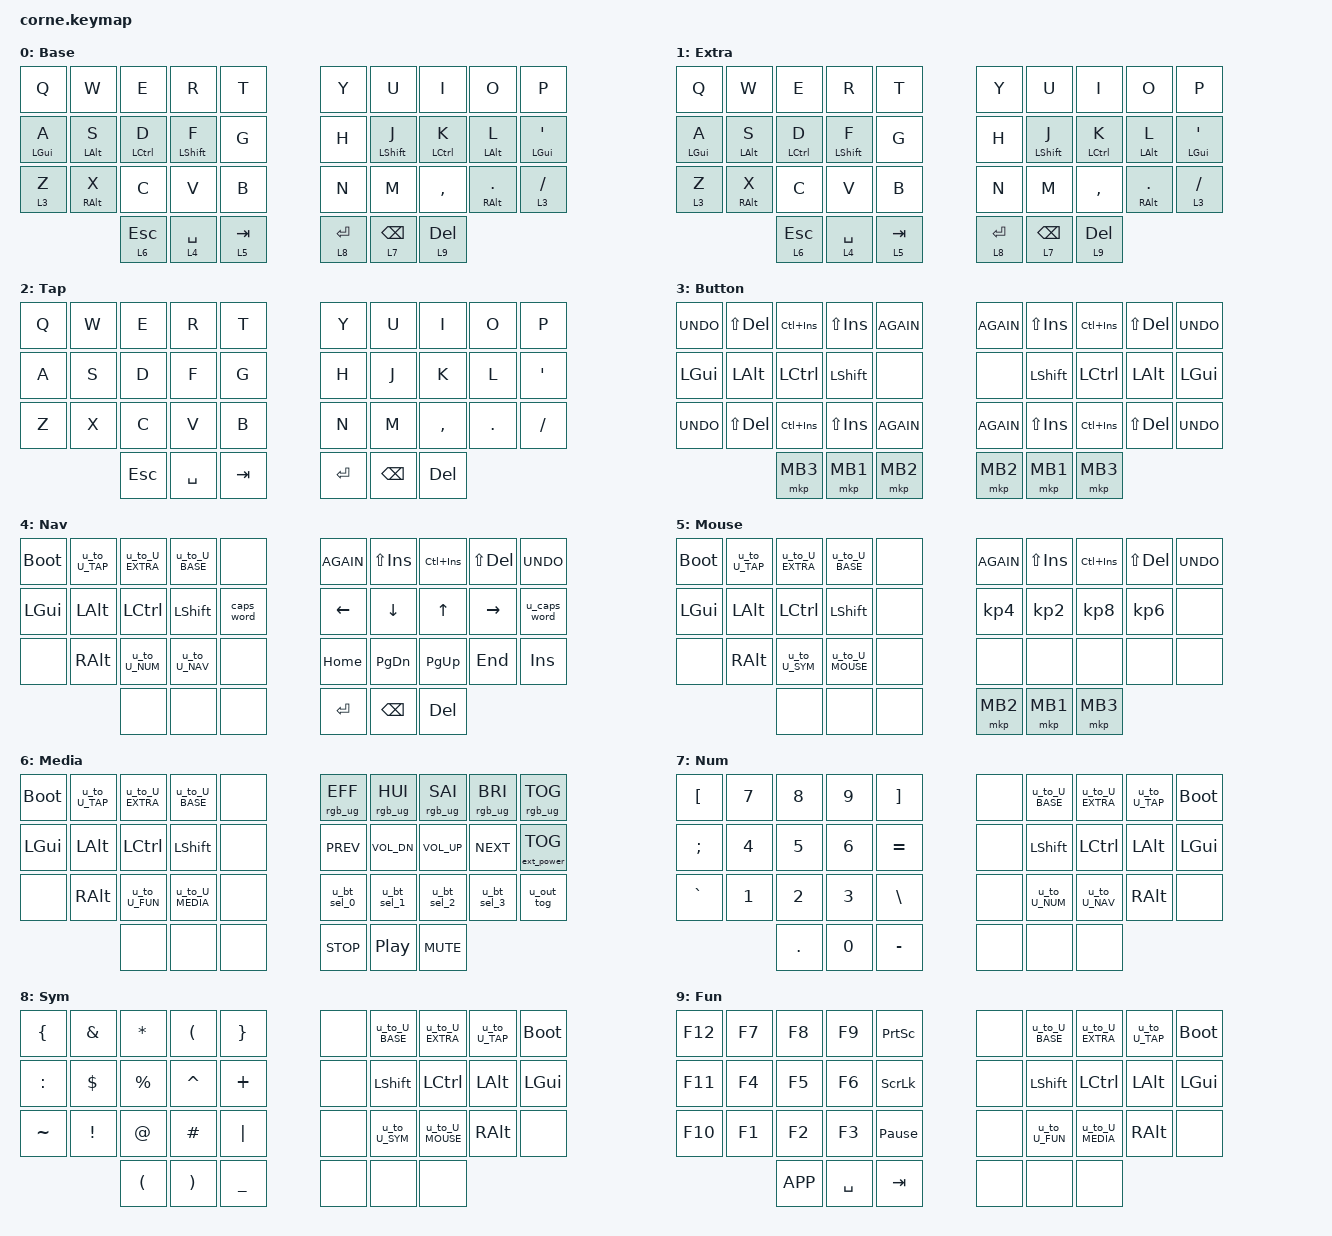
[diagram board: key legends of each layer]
#include <dt-bindings/zmk/mouse.h>
#include <behaviors.dtsi>
#include <dt-bindings/zmk/bt.h>
#include <dt-bindings/zmk/ext_power.h>
#include <dt-bindings/zmk/keys.h>
#include <dt-bindings/zmk/outputs.h>
#include <dt-bindings/zmk/rgb.h>

/ {
    chosen { zmk,matrix_transform = &five_column_transform; };
    keymap {
        compatible = "zmk,keymap";

        BASE {
            display-name = "Base";
            bindings = <
&kp Q         &kp W         &kp E          &kp R          &kp T          &kp Y        &kp U          &kp I          &kp O           &kp P           
&u_mt LGUI A  &u_mt LALT S  &u_mt LCTRL D  &u_mt LSHFT F  &kp G          &kp H        &u_mt LSHFT J  &u_mt LCTRL K  &u_mt LALT L    &u_mt LGUI SQT  
&u_lt 3 Z     &u_mt RALT X  &kp C          &kp V          &kp B          &kp N        &kp M          &kp COMMA      &u_mt RALT DOT  &u_lt 3 SLASH   
                                   &u_lt 6 ESC    &u_lt 4 SPACE  &u_lt 5 TAB    &u_lt 8 RET  &u_lt 7 BSPC   &u_lt 9 DEL
            >;
        };

        EXTRA {
            display-name = "Extra";
            bindings = <
&kp Q         &kp W         &kp E          &kp R          &kp T          &kp Y        &kp U          &kp I          &kp O           &kp P           
&u_mt LGUI A  &u_mt LALT S  &u_mt LCTRL D  &u_mt LSHFT F  &kp G          &kp H        &u_mt LSHFT J  &u_mt LCTRL K  &u_mt LALT L    &u_mt LGUI SQT  
&u_lt 3 Z     &u_mt RALT X  &kp C          &kp V          &kp B          &kp N        &kp M          &kp COMMA      &u_mt RALT DOT  &u_lt 3 SLASH   
                                   &u_lt 6 ESC    &u_lt 4 SPACE  &u_lt 5 TAB    &u_lt 8 RET  &u_lt 7 BSPC   &u_lt 9 DEL
            >;
        };

        TAP {
            display-name = "Tap";
            bindings = <
&kp Q  &kp W  &kp E    &kp R      &kp T      &kp Y    &kp U     &kp I      &kp O    &kp P      
&kp A  &kp S  &kp D    &kp F      &kp G      &kp H    &kp J     &kp K      &kp L    &kp SQT    
&kp Z  &kp X  &kp C    &kp V      &kp B      &kp N    &kp M     &kp COMMA  &kp DOT  &kp SLASH  
                     &kp ESC  &kp SPACE  &kp TAB    &kp RET  &kp BSPC  &kp DEL
            >;
        };

        BUTTON {
            display-name = "Button";
            bindings = <
&kp K_UNDO  &kp LS(DEL)  &kp LC(INS)  &kp LS(INS)  &kp K_AGAIN    &kp K_AGAIN  &kp LS(INS)  &kp LC(INS)  &kp LS(DEL)  &kp K_UNDO  
&kp LGUI    &kp LALT     &kp LCTRL    &kp LSHFT    &none          &none        &kp LSHFT    &kp LCTRL    &kp LALT     &kp LGUI    
&kp K_UNDO  &kp LS(DEL)  &kp LC(INS)  &kp LS(INS)  &kp K_AGAIN    &kp K_AGAIN  &kp LS(INS)  &kp LC(INS)  &kp LS(DEL)  &kp K_UNDO  
                                &mkp MB3     &mkp MB1     &mkp MB2       &mkp MB2     &mkp MB1     &mkp MB3
            >;
        };

        NAV {
            display-name = "Nav";
            bindings = <
&bootloader  &u_to_U_TAP  &u_to_U_EXTRA  &u_to_U_BASE  &none         &kp K_AGAIN  &kp LS(INS)  &kp LC(INS)  &kp LS(DEL)  &kp K_UNDO    
&kp LGUI     &kp LALT     &kp LCTRL      &kp LSHFT     &caps_word    &kp LEFT     &kp DOWN     &kp UP       &kp RIGHT    &u_caps_word  
&none        &kp RALT     &u_to_U_NUM    &u_to_U_NAV   &none         &kp HOME     &kp PG_DN    &kp PG_UP    &kp END      &kp INS       
                                 &none          &none         &none         &kp RET      &kp BSPC     &kp DEL
            >;
        };

        MOUSE {
            display-name = "Mouse";
            bindings = <
&bootloader  &u_to_U_TAP  &u_to_U_EXTRA  &u_to_U_BASE   &none    &kp K_AGAIN  &kp LS(INS)  &kp LC(INS)  &kp LS(DEL)  &kp K_UNDO  
&kp LGUI     &kp LALT     &kp LCTRL      &kp LSHFT      &none    &kp KP_N4    &kp KP_N2    &kp KP_N8    &kp KP_N6    &none       
&none        &kp RALT     &u_to_U_SYM    &u_to_U_MOUSE  &none    &none        &none        &none        &none        &none       
                                 &none          &none          &none    &mkp MB2     &mkp MB1     &mkp MB3
            >;
        };

        MEDIA {
            display-name = "Media";
            bindings = <
&bootloader  &u_to_U_TAP  &u_to_U_EXTRA  &u_to_U_BASE   &none    &rgb_ug RGB_EFF  &rgb_ug RGB_HUI  &rgb_ug RGB_SAI  &rgb_ug RGB_BRI  &rgb_ug RGB_TOG    
&kp LGUI     &kp LALT     &kp LCTRL      &kp LSHFT      &none    &kp C_PREV       &kp C_VOL_DN     &kp C_VOL_UP     &kp C_NEXT       &ext_power EP_TOG  
&none        &kp RALT     &u_to_U_FUN    &u_to_U_MEDIA  &none    &u_bt_sel_0      &u_bt_sel_1      &u_bt_sel_2      &u_bt_sel_3      &u_out_tog         
                                 &none          &none          &none    &kp C_STOP       &kp C_PP         &kp C_MUTE
            >;
        };

        NUM {
            display-name = "Num";
            bindings = <
&kp LBKT   &kp N7  &kp N8   &kp N9  &kp RBKT     &none  &u_to_U_BASE  &u_to_U_EXTRA  &u_to_U_TAP  &bootloader  
&kp SEMI   &kp N4  &kp N5   &kp N6  &kp EQUAL    &none  &kp LSHFT     &kp LCTRL      &kp LALT     &kp LGUI     
&kp GRAVE  &kp N1  &kp N2   &kp N3  &kp BSLH     &none  &u_to_U_NUM   &u_to_U_NAV    &kp RALT     &none        
                          &kp DOT  &kp N0  &kp MINUS    &none  &none         &none
            >;
        };

        SYM {
            display-name = "Sym";
            bindings = <
&kp LBRC   &kp AMPS  &kp ASTRK  &kp LPAR   &kp RBRC     &none  &u_to_U_BASE  &u_to_U_EXTRA  &u_to_U_TAP  &bootloader  
&kp COLON  &kp DLLR  &kp PRCNT  &kp CARET  &kp PLUS     &none  &kp LSHFT     &kp LCTRL      &kp LALT     &kp LGUI     
&kp TILDE  &kp EXCL  &kp AT     &kp HASH   &kp PIPE     &none  &u_to_U_SYM   &u_to_U_MOUSE  &kp RALT     &none        
                            &kp LPAR   &kp RPAR   &kp UNDER    &none  &none         &none
            >;
        };

        FUN {
            display-name = "Fun";
            bindings = <
&kp F12  &kp F7  &kp F8     &kp F9     &kp PSCRN          &none  &u_to_U_BASE  &u_to_U_EXTRA  &u_to_U_TAP  &bootloader  
&kp F11  &kp F4  &kp F5     &kp F6     &kp SLCK           &none  &kp LSHFT     &kp LCTRL      &kp LALT     &kp LGUI     
&kp F10  &kp F1  &kp F2     &kp F3     &kp PAUSE_BREAK    &none  &u_to_U_FUN   &u_to_U_MEDIA  &kp RALT     &none        
                        &kp K_APP  &kp SPACE  &kp TAB            &none  &none         &none
            >;
        };
    };
};

/ {
    macros {
        u_macro_u_bt_sel_0: u_macro_u_bt_sel_0 {
            compatible = "zmk,behavior-macro";
            #binding-cells = <0>;
            wait-ms = <0>;
            bindings = <&bt BT_SEL 0 &bt BT_CLR>;
        };
    };
};

/ {
    behaviors {
        u_bt_sel_0: u_bt_sel_0 {
            compatible = "zmk,behavior-mod-morph";
            #binding-cells = <0>;
            bindings = <&bt BT_SEL 0>, <&u_macro_u_bt_sel_0>;

            mods = <(MOD_LSFT|MOD_RSFT)>;
        };
    };
};

/ {
    macros {
        u_macro_u_bt_sel_1: u_macro_u_bt_sel_1 {
            compatible = "zmk,behavior-macro";
            #binding-cells = <0>;
            wait-ms = <0>;
            bindings = <&bt BT_SEL 1 &bt BT_CLR>;
        };
    };
};

/ {
    behaviors {
        u_bt_sel_1: u_bt_sel_1 {
            compatible = "zmk,behavior-mod-morph";
            #binding-cells = <0>;
            bindings = <&bt BT_SEL 1>, <&u_macro_u_bt_sel_1>;

            mods = <(MOD_LSFT|MOD_RSFT)>;
        };
    };
};

/ {
    macros {
        u_macro_u_bt_sel_2: u_macro_u_bt_sel_2 {
            compatible = "zmk,behavior-macro";
            #binding-cells = <0>;
            wait-ms = <0>;
            bindings = <&bt BT_SEL 2 &bt BT_CLR>;
        };
    };
};

/ {
    behaviors {
        u_bt_sel_2: u_bt_sel_2 {
            compatible = "zmk,behavior-mod-morph";
            #binding-cells = <0>;
            bindings = <&bt BT_SEL 2>, <&u_macro_u_bt_sel_2>;

            mods = <(MOD_LSFT|MOD_RSFT)>;
        };
    };
};

/ {
    macros {
        u_macro_u_bt_sel_3: u_macro_u_bt_sel_3 {
            compatible = "zmk,behavior-macro";
            #binding-cells = <0>;
            wait-ms = <0>;
            bindings = <&bt BT_SEL 3 &bt BT_CLR>;
        };
    };
};

/ {
    behaviors {
        u_bt_sel_3: u_bt_sel_3 {
            compatible = "zmk,behavior-mod-morph";
            #binding-cells = <0>;
            bindings = <&bt BT_SEL 3>, <&u_macro_u_bt_sel_3>;

            mods = <(MOD_LSFT|MOD_RSFT)>;
        };
    };
};

/ {
    macros {
        u_macro_u_bt_sel_4: u_macro_u_bt_sel_4 {
            compatible = "zmk,behavior-macro";
            #binding-cells = <0>;
            wait-ms = <0>;
            bindings = <&bt BT_SEL 4 &bt BT_CLR>;
        };
    };
};

/ {
    behaviors {
        u_bt_sel_4: u_bt_sel_4 {
            compatible = "zmk,behavior-mod-morph";
            #binding-cells = <0>;
            bindings = <&bt BT_SEL 4>, <&u_macro_u_bt_sel_4>;

            mods = <(MOD_LSFT|MOD_RSFT)>;
        };
    };
};

/ {
    behaviors {
        u_out_tog: u_out_tog {
            compatible = "zmk,behavior-mod-morph";
            #binding-cells = <0>;
            bindings = <&out OUT_TOG>, <&out OUT_USB>;

            mods = <(MOD_LSFT|MOD_RSFT)>;
        };
    };
};

/ {
    behaviors {
        u_caps_word: u_caps_word {
            compatible = "zmk,behavior-mod-morph";
            #binding-cells = <0>;
            bindings = <&caps_word>, <&kp CAPS>;

            mods = <(MOD_LSFT|MOD_RSFT)>;
        };
    };
};

/ {
    behaviors {
        u_to_U_BASE: u_to_U_BASE {
            compatible = "zmk,behavior-tap-dance";
            #binding-cells = <0>;
            tapping-term-ms = <200>;
            bindings = <&none>, <&to 0>;
        };
    };
};

/ {
    behaviors {
        u_to_U_EXTRA: u_to_U_EXTRA {
            compatible = "zmk,behavior-tap-dance";
            #binding-cells = <0>;
            tapping-term-ms = <200>;
            bindings = <&none>, <&to 1>;
        };
    };
};

/ {
    behaviors {
        u_to_U_TAP: u_to_U_TAP {
            compatible = "zmk,behavior-tap-dance";
            #binding-cells = <0>;
            tapping-term-ms = <200>;
            bindings = <&none>, <&to 2>;
        };
    };
};

/ {
    behaviors {
        u_to_U_BUTTON: u_to_U_BUTTON {
            compatible = "zmk,behavior-tap-dance";
            #binding-cells = <0>;
            tapping-term-ms = <200>;
            bindings = <&none>, <&to 3>;
        };
    };
};

/ {
    behaviors {
        u_to_U_NAV: u_to_U_NAV {
            compatible = "zmk,behavior-tap-dance";
            #binding-cells = <0>;
            tapping-term-ms = <200>;
            bindings = <&none>, <&to 4>;
        };
    };
};

/ {
    behaviors {
        u_to_U_MOUSE: u_to_U_MOUSE {
            compatible = "zmk,behavior-tap-dance";
            #binding-cells = <0>;
            tapping-term-ms = <200>;
            bindings = <&none>, <&to 5>;
        };
    };
};

/ {
    behaviors {
        u_to_U_MEDIA: u_to_U_MEDIA {
            compatible = "zmk,behavior-tap-dance";
            #binding-cells = <0>;
            tapping-term-ms = <200>;
            bindings = <&none>, <&to 6>;
        };
    };
};

/ {
    behaviors {
        u_to_U_NUM: u_to_U_NUM {
            compatible = "zmk,behavior-tap-dance";
            #binding-cells = <0>;
            tapping-term-ms = <200>;
            bindings = <&none>, <&to 7>;
        };
    };
};

/ {
    behaviors {
        u_to_U_SYM: u_to_U_SYM {
            compatible = "zmk,behavior-tap-dance";
            #binding-cells = <0>;
            tapping-term-ms = <200>;
            bindings = <&none>, <&to 8>;
        };
    };
};

/ {
    behaviors {
        u_to_U_FUN: u_to_U_FUN {
            compatible = "zmk,behavior-tap-dance";
            #binding-cells = <0>;
            tapping-term-ms = <200>;
            bindings = <&none>, <&to 9>;
        };
    };
};

/ {
    macros {
        u_macro_btn1: u_macro_btn1 {
            compatible = "zmk,behavior-macro";
            #binding-cells = <0>;
            wait-ms = <0>;
            bindings = <&kp KP_SLASH &kp KP_N5>;
        };
    };
};

/ {
    macros {
        u_macro_btn2: u_macro_btn2 {
            compatible = "zmk,behavior-macro";
            #binding-cells = <0>;
            wait-ms = <0>;
            bindings = <&kp KP_MINUS &kp KP_N5>;
        };
    };
};

/ {
    macros {
        u_macro_btn3: u_macro_btn3 {
            compatible = "zmk,behavior-macro";
            #binding-cells = <0>;
            wait-ms = <0>;
            bindings = <&kp KP_ASTERISK &kp KP_N5>;
        };
    };
};

/ {
    behaviors {
        u_mt: u_mt {
            compatible = "zmk,behavior-hold-tap";
            #binding-cells = <2>;
            tapping_term_ms = <200>;
            flavor = "tap-preferred";
            quick-tap-ms = <200>;
            require-prior-idle-ms = <125>;
            bindings = <&kp>, <&kp>;
        };

        u_lt: u_lt {
            compatible = "zmk,behavior-hold-tap";
            #binding-cells = <2>;
            tapping_term_ms = <200>;
            flavor = "tap-preferred";
            quick-tap-ms = <200>;
            require-prior-idle-ms = <125>;
            bindings = <&mo>, <&kp>;
        };
    };
};
